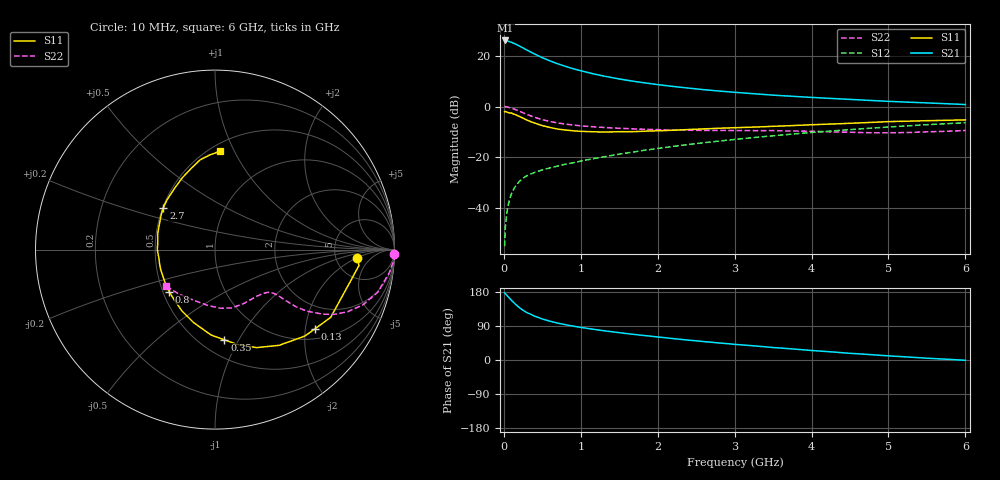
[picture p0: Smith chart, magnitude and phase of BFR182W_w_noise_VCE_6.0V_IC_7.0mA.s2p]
! (c) 2017  Infineon Technologies AG, Munich
! Infineon Technologies  Discrete & RF Semiconductors
! BFR182W
! VCE =  6.0 V,  IC =  7.0 mA
! Common Emitter S-Parameters:  Jan 2017
# GHz  S  MA  R  50
!  f  S11  S21  S12  S22
! GHz  MAG  ANG  MAG  ANG  MAG  ANG  MAG  ANG
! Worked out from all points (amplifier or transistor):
!   77 points, 10 MHz to 6 GHz, reference 50 ohm
!   highest |S21| = 26.0 dB at 20 MHz (marker M1)
!   |S21| within 3 dB of that: start of sweep to 253.2 MHz
!   unconditionally stable (mu >= 1): 1.219 GHz to 2.722 GHz
!   at 130 MHz: K = 0.21, MSG = 28.6 dB, |S12| = -32.4 dB
!   at 2.2 GHz: K = 1.04, MAG = 10.6 dB, |S12| = -15.7 dB
!   at 6 GHz: K = 0.85, MSG = 3.6 dB, |S12| = -6.3 dB
!   lowest NFmin = 0.95 dB at 450 MHz
!   S11 on the Smith chart (normalised r, x): 10 MHz: 8.13, -1.99; 130 MHz: 1.27, -2.26; 350 MHz: 0.65, -0.87; 800 MHz: 0.54, -0.29; 2.7 GHz: 0.50, +0.27; 6 GHz: 0.56, +0.88
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0.01  0.7921 -3.3  19.79 177.3  0.0018 92.6  0.9982 -1.5
0.02  0.807 -6.3  20.01 175.1  0.0042 91.1  0.9994 -3.2
0.05  0.7672 -15.4  19.42 168.2  0.0102 79.9  0.9785 -7.8
0.1  0.747 -30.4  18.42 157.2  0.0196 76.9  0.9365 -14.8
0.13  0.7109 -38.3  17.54 151.4  0.024 71.9  0.8998 -18.2
0.15  0.6948 -43.9  17.06 147.3  0.027 69.5  0.8772 -20.7
0.2  0.6419 -56.2  15.62 138.6  0.0337 65.2  0.8146 -25.2
0.25  0.5933 -67.0  14.25 131.1  0.0392 61.7  0.7558 -28.5
0.3  0.544 -76.6  12.93 125.1  0.0437 59.2  0.7005 -30.9
0.35  0.5053 -84.1  11.84 120.7  0.0472 58.3  0.6579 -32.3
0.4  0.4765 -92.6  10.83 115.5  0.0507 57.6  0.6158 -33.8
0.5  0.4235 -106.4  9.165 108.2  0.0569 56.5  0.5539 -35.2
0.6  0.3888 -118.1  7.93 102.3  0.0624 56.9  0.5097 -35.6
0.8  0.3465 -137.4  6.196 93.1  0.0737 58.6  0.4533 -35.9
1.1  0.3227 -159.3  4.651 83.0  0.0908 60.5  0.408 -36.7
1.6  0.3208 174.9  3.301 69.6  0.1227 62.7  0.3702 -40.7
2.1  0.3383 157.1  2.599 58.7  0.1574 62.6  0.3493 -48.1
2.7  0.3698 140.9  2.088 46.8  0.2023 61.0  0.3404 -59.5
3.1  0.3888 131.7  1.864 39.8  0.234 59.0  0.3379 -67.2
4.1  0.4455 112.7  1.49 23.7  0.3182 52.1  0.3237 -87.4
5.1  0.5108 98.1  1.251 9.7  0.4057 43.2  0.3068 -116.7
6  0.5481 87.2  1.1 -0.7  0.4822 34.2  0.3396 -143.2
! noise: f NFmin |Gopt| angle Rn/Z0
0.45  0.95  0.17  35  0.16
0.9  1.04  0.15  63  0.15
1.9  1.57  0.18  174  0.13
2.4  1.84  0.19  -178  0.18
